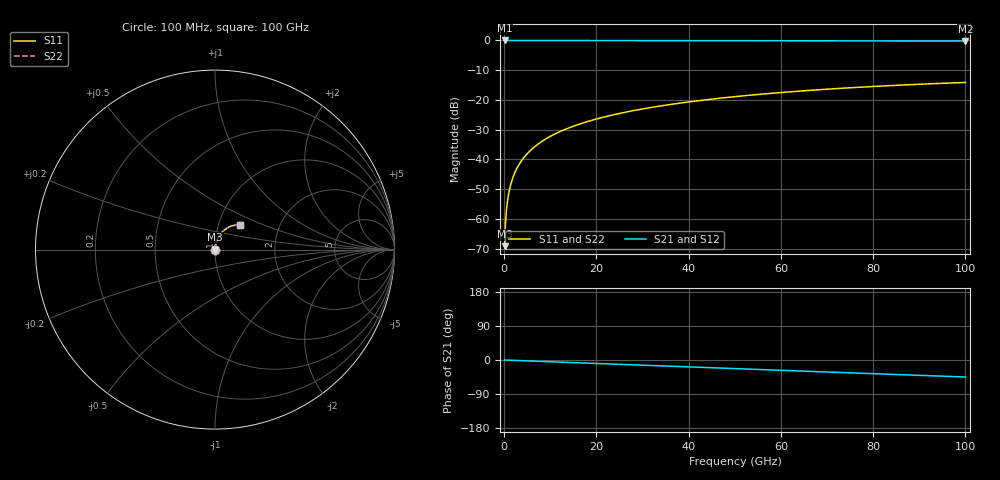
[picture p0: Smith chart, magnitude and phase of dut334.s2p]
! Touchstone file exported from HFSS 2026.1.0
!  File:  C:/ffzhzh/LocalFiles/Ansys_Project_Files/temp_train_TSV_334_1783509737_55944.aedt
!  Generated:  07:23:36 PM Jul  8, 2026
!  Design:  TSV
!  Project:  temp_train_TSV_334_1783509737_55944
! Variables:
!  h_bsmrdl = 2um
!  h_ox = 20um
!  h_rdl = 5um
!  h_sub = 86.45um
!  h_tmrdl = 5um
!  h_tsv = 86.45um
!  h_via = 3um
!  l_bsmrdl = 300um
!  l_sub = 415.58um
!  l_tmrdl = 200um
!  m_sub = 200um
!  pitch = 47.19um
!  r_tsv = 7.79um
!  s_tmrdl = 10um
!  w_bsmrdl = 18um
!  w_sub = 500um
!  w_tmrdl = 12um
!  x_tsv_center1 = 206um
!  x_tsv_center2 = 524um
!  x_tsv_center3 = 736um
!  x_tsv_center4 = 1054um
!  x_tsv_center5 = 1266um
!  x_tsv_center6 = 1584um
# GHz S MA R 50.000000
! Terminal data exported
! Port[1] = TSV1_1_T1
! Port[2] = TSV1_1_T2
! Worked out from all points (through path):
!   1000 points, 100 MHz to 100 GHz, reference 50 ohm
!   highest |S21| = 0.00 dB at 100 MHz (marker M1); lowest = -0.2 dB at 100 GHz (marker M2)
!   group delay of S21, straight-line fit = 1.25 ps
!   lowest |S11| = -69.2 dB at 100 MHz (marker M3), VSWR 1.00, Z = 50 + j0.0285 ohm
!   |S11| at or under -10 dB: start of sweep to end of sweep
!   |S22| runs from -69.2 to -14.1 dB; largest |S21 - S12| = 8.1e-15
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0.1  0.0003469 55.2  0.9998 -0.0  0.9998 -0.0  0.0003469 55.2
! Gamma 0 0 0 0
! Port Impedance 50 0 50 0
0.4  0.001138 77.2  0.9998 -0.2  0.9998 -0.2  0.001138 77.2
0.7  0.001918 80.6  0.9997 -0.3  0.9997 -0.3  0.001918 80.6
0.8  0.002175 81.2  0.9997 -0.4  0.9997 -0.4  0.002175 81.2
1  0.002684 82.0  0.9996 -0.5  0.9996 -0.5  0.002684 82.0
1.3  0.003442 82.8  0.9996 -0.6  0.9996 -0.6  0.003442 82.8
1.7  0.004444 83.3  0.9995 -0.8  0.9995 -0.8  0.004444 83.3
2.3  0.005928 83.7  0.9994 -1.1  0.9994 -1.1  0.005928 83.7
3  0.007637 83.9  0.9993 -1.4  0.9993 -1.4  0.007637 83.9
3.8  0.009572 84.0  0.9993 -1.8  0.9993 -1.8  0.009572 84.0
4.8  0.01198 84.0  0.9991 -2.2  0.9991 -2.2  0.01198 84.0
6  0.01485 83.8  0.999 -2.8  0.999 -2.8  0.01485 83.8
8.8  0.02153 83.1  0.9987 -4.1  0.9987 -4.1  0.02153 83.1
12.4  0.03003 81.9  0.9983 -5.7  0.9983 -5.7  0.03003 81.9
16.8  0.04033 80.2  0.9977 -7.7  0.9977 -7.7  0.04033 80.2
24.2  0.05739 77.2  0.9966 -11.1  0.9966 -11.1  0.05739 77.2
33.4  0.07808 73.2  0.9949 -15.2  0.9949 -15.2  0.07808 73.2
41.2  0.09503 69.9  0.9932 -18.8  0.9932 -18.8  0.09503 69.9
50.1  0.1136 66.0  0.991 -22.8  0.991 -22.8  0.1136 66.0
66.7  0.1456 58.7  0.9865 -30.2  0.9865 -30.2  0.1456 58.7
83.4  0.1736 51.4  0.9816 -37.6  0.9816 -37.6  0.1736 51.5
100  0.1966 44.3  0.977 -44.9  0.977 -44.9  0.1966 44.3
